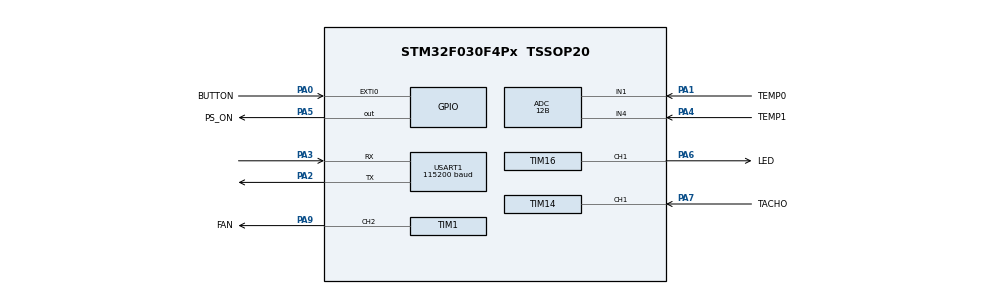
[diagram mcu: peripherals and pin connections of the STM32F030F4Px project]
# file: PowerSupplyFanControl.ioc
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ADC.ClockPrescaler=ADC_CLOCK_ASYNC_DIV1
ADC.ContinuousConvMode=ENABLE
ADC.DMAContinuousRequests=ENABLE
ADC.DataAlign=ADC_DATAALIGN_RIGHT
ADC.DiscontinuousConvMode=DISABLE
ADC.EOCSelection=ADC_EOC_SEQ_CONV
ADC.EnableAnalogWatchDog=false
ADC.ExternalTrigConv=ADC_SOFTWARE_START
ADC.ExternalTrigConvEdge=ADC_EXTERNALTRIGCONVEDGE_NONE
ADC.LowPowerAutoPowerOff=DISABLE
ADC.LowPowerAutoWait=DISABLE
ADC.Overrun=ADC_OVR_DATA_OVERWRITTEN
ADC.Resolution=ADC_RESOLUTION_12B
ADC.SamplingTime=ADC_SAMPLETIME_239CYCLES_5
ADC.ScanConvMode=ADC_SCAN_DIRECTION_FORWARD
Dma.ADC.0.Direction=DMA_PERIPH_TO_MEMORY
Dma.ADC.0.Instance=DMA1_Channel1
Dma.ADC.0.MemDataAlignment=DMA_MDATAALIGN_HALFWORD
Dma.ADC.0.MemInc=DMA_MINC_ENABLE
Dma.ADC.0.Mode=DMA_CIRCULAR
Dma.ADC.0.PeriphDataAlignment=DMA_PDATAALIGN_HALFWORD
Dma.ADC.0.PeriphInc=DMA_PINC_DISABLE
Dma.ADC.0.Priority=DMA_PRIORITY_LOW
Dma.Request0=ADC
Mcu.Family=STM32F0
Mcu.Name=STM32F030F4Px
Mcu.Package=TSSOP20
NVIC.ADC1_IRQn=true\:0\:0\:false\:true\:true\:1
NVIC.DMA1_Channel1_IRQn=true\:0\:0\:false\:false\:true
NVIC.EXTI0_1_IRQn=true\:0\:0\:false\:true\:true\:2
NVIC.TIM17_IRQn=true\:0\:0\:false\:true\:true\:3
PA0.GPIO_Label=BUTTON
PA0.GPIO_ModeDefaultEXTI=GPIO_MODE_IT_RISING
PA0.Signal=GPXTI0
PA1.GPIO_Label=TEMP0
PA1.Mode=IN1
PA1.Signal=ADC_IN1
PA13.Mode=Serial_Wire
PA13.Signal=SYS_SWDIO
PA14.Mode=Serial_Wire
PA14.Signal=SYS_SWCLK
PA2.Mode=Asynchronous
PA2.Signal=USART1_TX
PA3.Mode=Asynchronous
PA3.Signal=USART1_RX
PA4.GPIO_Label=TEMP1
PA4.Mode=IN4
PA4.Signal=ADC_IN4
PA5.GPIO_Label=PS_ON
PA5.GPIO_ModeDefaultOutputPP=GPIO_MODE_OUTPUT_PP
PA5.Signal=GPIO_Output
PA6.GPIO_Label=LED
PA6.Signal=S_TIM16_CH1
PA7.GPIO_Label=TACHO
PA7.Signal=S_TIM14_CH1
PA9.GPIO_Label=FAN
PA9.Signal=S_TIM1_CH2
ProjectManager.HeapSize=0x200
ProjectManager.StackSize=0x400
ProjectManager.TargetToolchain=SW4STM32
SH.S_TIM14_CH1.0=TIM14_CH1,Input_Capture1_from_TI1
SH.S_TIM16_CH1.0=TIM16_CH1,PWM Generation1 CH1
SH.S_TIM1_CH2.0=TIM1_CH2,PWM Generation2 CH2
TIM1.Channel-PWM\ Generation2\ CH2=TIM_CHANNEL_2
TIM1.Period=255
TIM1.Prescaler=1
TIM1.Pulse-PWM\ Generation2\ CH2=128
TIM14.Channel=TIM_CHANNEL_1
TIM16.AutomaticOutput=TIM_AUTOMATICOUTPUT_ENABLE
TIM16.Channel=TIM_CHANNEL_1
TIM16.Period=254
TIM16.Prescaler=40000
TIM16.Pulse=0
TIM17.Channel=TIM_CHANNEL_1
TIM17.OCMode_1=TIM_OCMODE_ACTIVE
TIM17.Period=5
TIM17.Prescaler=2000
TIM17.Pulse=4
USART1.BaudRate=115200
USART1.VirtualMode-Asynchronous=VM_ASYNC
VP_ADC_TempSens_Input.Mode=IN-TempSens
VP_TIM14_VS_ClockSourceINT.Mode=Enable_Timer
VP_TIM16_VS_ClockSourceINT.Mode=Enable_Timer
VP_TIM17_VS_ClockSourceINT.Mode=Enable_Timer
VP_TIM17_VS_OPM.Mode=OPM_bit
VP_TIM17_VS_no_output1.Mode=Output Compare1 No Output
board=PowerSupplyFanControl

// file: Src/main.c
/**
  ******************************************************************************
  * File Name          : main.c
  * Description        : Main program body
  ******************************************************************************
  ** This notice applies to any and all portions of this file
  * that are not between comment pairs USER CODE BEGIN and
  * USER CODE END. Other portions of this file, whether
  * inserted by the user or by software development tools
  * are owned by their respective copyright owners.
  *
  * COPYRIGHT(c) 2017 STMicroelectronics
  *
  * Redistribution and use in source and binary forms, with or without modification,
  * are permitted provided that the following conditions are met:
  *   1. Redistributions of source code must retain the above copyright notice,
  *      this list of conditions and the following disclaimer.
  *   2. Redistributions in binary form must reproduce the above copyright notice,
  *      this list of conditions and the following disclaimer in the documentation
  *      and/or other materials provided with the distribution.
  *   3. Neither the name of STMicroelectronics nor the names of its contributors
  *      may be used to endorse or promote products derived from this software
  *      without specific prior written permission.
  *
  * THIS SOFTWARE IS PROVIDED BY THE COPYRIGHT HOLDERS AND CONTRIBUTORS "AS IS"
  * AND ANY EXPRESS OR IMPLIED WARRANTIES, INCLUDING, BUT NOT LIMITED TO, THE
  * IMPLIED WARRANTIES OF MERCHANTABILITY AND FITNESS FOR A PARTICULAR PURPOSE ARE
  * DISCLAIMED. IN NO EVENT SHALL THE COPYRIGHT HOLDER OR CONTRIBUTORS BE LIABLE
  * FOR ANY DIRECT, INDIRECT, INCIDENTAL, SPECIAL, EXEMPLARY, OR CONSEQUENTIAL
  * DAMAGES (INCLUDING, BUT NOT LIMITED TO, PROCUREMENT OF SUBSTITUTE GOODS OR
  * SERVICES; LOSS OF USE, DATA, OR PROFITS; OR BUSINESS INTERRUPTION) HOWEVER
  * CAUSED AND ON ANY THEORY OF LIABILITY, WHETHER IN CONTRACT, STRICT LIABILITY,
  * OR TORT (INCLUDING NEGLIGENCE OR OTHERWISE) ARISING IN ANY WAY OUT OF THE USE
  * OF THIS SOFTWARE, EVEN IF ADVISED OF THE POSSIBILITY OF SUCH DAMAGE.
  *
  ******************************************************************************
  */
#include "main.h"
#include "stm32f0xx_hal.h"

/* USER CODE BEGIN Includes */

#include "fan.h"
#include <stdbool.h>
#include "templookup.h"

/* USER CODE END Includes */

ADC_HandleTypeDef hadc;
DMA_HandleTypeDef hdma_adc;

TIM_HandleTypeDef htim1;
TIM_HandleTypeDef htim14;
TIM_HandleTypeDef htim16;
TIM_HandleTypeDef htim17;

UART_HandleTypeDef huart1;

/* USER CODE BEGIN PV */
/* Private variables ---------------------------------------------------------*/

volatile uint16_t g_tempValues[3];
volatile bool g_mainPower;

/* USER CODE END PV */

void SystemClock_Config(void);
static void MX_GPIO_Init(void);
static void MX_DMA_Init(void);
static void MX_ADC_Init(void);
static void MX_TIM14_Init(void);
static void MX_TIM16_Init(void);
static void MX_USART1_UART_Init(void);
static void MX_TIM1_Init(void);
static void MX_TIM17_Init(void);
static void MX_NVIC_Init(void);

void HAL_TIM_MspPostInit(TIM_HandleTypeDef *htim);

/* USER CODE BEGIN PFP */
/* Private function prototypes -----------------------------------------------*/

/* USER CODE END PFP */

/* USER CODE BEGIN 0 */

volatile bool tempAvailable = false;
void HAL_ADC_ConvCpltCallback(ADC_HandleTypeDef *hadc) {
	uint16_t temperature = g_tempValues[0];
	if (temperature <= TEMP_CRITICAL || temperature == 0xffff) {
		// emergency stop; 0xffff means sensor failure (open circuit)
		g_mainPower = false;
		HAL_GPIO_WritePin(PS_ON_GPIO_Port, PS_ON_Pin, GPIO_PIN_RESET);
		setFanSpeed(0xff);
	} else if (g_tempValues[1] < g_tempValues[0]) {
		// intake temperature is higher than our internals, don't let the heat in
		setFanSpeed(0x0);
	} else if (temperature < TEMP_OFFSET) {
		setFanSpeed(0xff);
	} else if (temperature > TEMP_MAX) {
		setFanSpeed(0x0);
	} else {
		setFanSpeed(TEMP_LOOKUP[(temperature - TEMP_OFFSET) / TEMP_STEP]);
	}
}

/* USER CODE END 0 */

int main(void)
{

  /* USER CODE BEGIN 1 */

  g_mainPower = false;

  /* USER CODE END 1 */

  /* MCU Configuration----------------------------------------------------------*/

  /* Reset of all peripherals, Initializes the Flash interface and the Systick. */
  HAL_Init();

  /* Configure the system clock */
  SystemClock_Config();

  /* Initialize all configured peripherals */
  MX_GPIO_Init();
  MX_DMA_Init();
  MX_ADC_Init();
  MX_TIM14_Init();
  MX_TIM16_Init();
  MX_USART1_UART_Init();
  MX_TIM1_Init();
  MX_TIM17_Init();

  /* Initialize interrupts */
  MX_NVIC_Init();

  /* USER CODE BEGIN 2 */

  HAL_TIM_Base_Start(&htim1);
  HAL_TIM_PWM_Start(&htim1, TIM_CHANNEL_2);

  HAL_TIM_Base_Start(&htim16);
  HAL_TIM_PWM_Start(&htim16, TIM_CHANNEL_1);

  HAL_TIM_Base_Start(&htim17);

  HAL_GPIO_WritePin(PS_ON_GPIO_Port, PS_ON_Pin, GPIO_PIN_RESET);
  HAL_ADC_Start_DMA(&hadc, (uint32_t*)g_tempValues, sizeof(g_tempValues) / sizeof(*g_tempValues));
  setFanSpeed(0);

  HAL_UART_Transmit(&huart1, (uint8_t*)"Starting up...\n", 15, 0xfff);

  /* USER CODE END 2 */

  /* Infinite loop */
  while (1)
  {

  /* USER CODE BEGIN 3 */
//	  if (tempAvailable) {
//		  tempAvailable = false; // race condition!

//	  	  int adc0 = g_tempValues[0];
//	  	  if(adc0 >= TEMP_OFFSET && adc0 <= TEMP_MAX) {
//	  		  int tsensor0 = TEMP_LOOKUP[(g_tempValues[0] - TEMP_OFFSET)/TEMP_STEP];
//
//			  char txt[128];
//	//		  int bytes = sprintf(txt, "adc[0] = %u, adc[1] = %u, adc[2] = %u\n", g_tempValues[0], g_tempValues[1], g_tempValues[2]);
//			  int bytes = sprintf(txt, "g_tempValues[0] = %u, tsensor0=%d\n", g_tempValues[0], tsensor0);
//			  HAL_UART_Transmit(&huart1, (uint8_t*)txt, bytes, 0xfff);
//	  	  }
//	  }

  }
  /* USER CODE END 3 */

}

/** System Clock Configuration
*/
void SystemClock_Config(void)
{

  RCC_OscInitTypeDef RCC_OscInitStruct;
  RCC_ClkInitTypeDef RCC_ClkInitStruct;
  RCC_PeriphCLKInitTypeDef PeriphClkInit;

    /**Initializes the CPU, AHB and APB busses clocks
    */
  RCC_OscInitStruct.OscillatorType = RCC_OSCILLATORTYPE_HSI|RCC_OSCILLATORTYPE_HSI14;
  RCC_OscInitStruct.HSIState = RCC_HSI_ON;
  RCC_OscInitStruct.HSI14State = RCC_HSI14_ON;
  RCC_OscInitStruct.HSICalibrationValue = 16;
  RCC_OscInitStruct.HSI14CalibrationValue = 16;
  RCC_OscInitStruct.PLL.PLLState = RCC_PLL_NONE;
  if (HAL_RCC_OscConfig(&RCC_OscInitStruct) != HAL_OK)
  {
    _Error_Handler(__FILE__, __LINE__);
  }

    /**Initializes the CPU, AHB and APB busses clocks
    */
  RCC_ClkInitStruct.ClockType = RCC_CLOCKTYPE_HCLK|RCC_CLOCKTYPE_SYSCLK
                              |RCC_CLOCKTYPE_PCLK1;
  RCC_ClkInitStruct.SYSCLKSource = RCC_SYSCLKSOURCE_HSI;
  RCC_ClkInitStruct.AHBCLKDivider = RCC_SYSCLK_DIV1;
  RCC_ClkInitStruct.APB1CLKDivider = RCC_HCLK_DIV1;

  if (HAL_RCC_ClockConfig(&RCC_ClkInitStruct, FLASH_LATENCY_0) != HAL_OK)
  {
    _Error_Handler(__FILE__, __LINE__);
  }

  PeriphClkInit.PeriphClockSelection = RCC_PERIPHCLK_USART1;
  PeriphClkInit.Usart1ClockSelection = RCC_USART1CLKSOURCE_PCLK1;
  if (HAL_RCCEx_PeriphCLKConfig(&PeriphClkInit) != HAL_OK)
  {
    _Error_Handler(__FILE__, __LINE__);
  }

  HAL_RCC_MCOConfig(RCC_MCO, RCC_MCO1SOURCE_SYSCLK, RCC_MCODIV_1);

    /**Configure the Systick interrupt time
    */
  HAL_SYSTICK_Config(HAL_RCC_GetHCLKFreq()/1000);

    /**Configure the Systick
    */
  HAL_SYSTICK_CLKSourceConfig(SYSTICK_CLKSOURCE_HCLK);

  /* SysTick_IRQn interrupt configuration */
  HAL_NVIC_SetPriority(SysTick_IRQn, 0, 0);
}

/** NVIC Configuration
*/
static void MX_NVIC_Init(void)
{
  /* ADC1_IRQn interrupt configuration */
  HAL_NVIC_SetPriority(ADC1_IRQn, 0, 0);
  HAL_NVIC_EnableIRQ(ADC1_IRQn);
  /* EXTI0_1_IRQn interrupt configuration */
  HAL_NVIC_SetPriority(EXTI0_1_IRQn, 0, 0);
  HAL_NVIC_EnableIRQ(EXTI0_1_IRQn);
  /* TIM17_IRQn interrupt configuration */
  HAL_NVIC_SetPriority(TIM17_IRQn, 0, 0);
  HAL_NVIC_EnableIRQ(TIM17_IRQn);
}

/* ADC init function */
static void MX_ADC_Init(void)
{

  ADC_ChannelConfTypeDef sConfig;

    /**Configure the global features of the ADC (Clock, Resolution, Data Alignment and number of conversion)
    */
  hadc.Instance = ADC1;
  hadc.Init.ClockPrescaler = ADC_CLOCK_ASYNC_DIV1;
  hadc.Init.Resolution = ADC_RESOLUTION_12B;
  hadc.Init.DataAlign = ADC_DATAALIGN_RIGHT;
  hadc.Init.ScanConvMode = ADC_SCAN_DIRECTION_FORWARD;
  hadc.Init.EOCSelection = ADC_EOC_SEQ_CONV;
  hadc.Init.LowPowerAutoWait = DISABLE;
  hadc.Init.LowPowerAutoPowerOff = DISABLE;
  hadc.Init.ContinuousConvMode = ENABLE;
  hadc.Init.DiscontinuousConvMode = DISABLE;
  hadc.Init.ExternalTrigConv = ADC_SOFTWARE_START;
  hadc.Init.ExternalTrigConvEdge = ADC_EXTERNALTRIGCONVEDGE_NONE;
  hadc.Init.DMAContinuousRequests = ENABLE;
  hadc.Init.Overrun = ADC_OVR_DATA_OVERWRITTEN;
  if (HAL_ADC_Init(&hadc) != HAL_OK)
  {
    _Error_Handler(__FILE__, __LINE__);
  }

    /**Configure for the selected ADC regular channel to be converted.
    */
  sConfig.Channel = ADC_CHANNEL_1;
  sConfig.Rank = ADC_RANK_CHANNEL_NUMBER;
  sConfig.SamplingTime = ADC_SAMPLETIME_239CYCLES_5;
  if (HAL_ADC_ConfigChannel(&hadc, &sConfig) != HAL_OK)
  {
    _Error_Handler(__FILE__, __LINE__);
  }

    /**Configure for the selected ADC regular channel to be converted.
    */
  sConfig.Channel = ADC_CHANNEL_4;
  if (HAL_ADC_ConfigChannel(&hadc, &sConfig) != HAL_OK)
  {
    _Error_Handler(__FILE__, __LINE__);
  }

    /**Configure for the selected ADC regular channel to be converted.
    */
  sConfig.Channel = ADC_CHANNEL_TEMPSENSOR;
  if (HAL_ADC_ConfigChannel(&hadc, &sConfig) != HAL_OK)
  {
    _Error_Handler(__FILE__, __LINE__);
  }

}

/* TIM1 init function */
static void MX_TIM1_Init(void)
{

  TIM_MasterConfigTypeDef sMasterConfig;
  TIM_OC_InitTypeDef sConfigOC;
  TIM_BreakDeadTimeConfigTypeDef sBreakDeadTimeConfig;

  htim1.Instance = TIM1;
  htim1.Init.Prescaler = 1;
  htim1.Init.CounterMode = TIM_COUNTERMODE_UP;
  htim1.Init.Period = 255;
  htim1.Init.ClockDivision = TIM_CLOCKDIVISION_DIV1;
  htim1.Init.RepetitionCounter = 0;
  htim1.Init.AutoReloadPreload = TIM_AUTORELOAD_PRELOAD_DISABLE;
  if (HAL_TIM_PWM_Init(&htim1) != HAL_OK)
  {
    _Error_Handler(__FILE__, __LINE__);
  }

  sMasterConfig.MasterOutputTrigger = TIM_TRGO_RESET;
  sMasterConfig.MasterSlaveMode = TIM_MASTERSLAVEMODE_DISABLE;
  if (HAL_TIMEx_MasterConfigSynchronization(&htim1, &sMasterConfig) != HAL_OK)
  {
    _Error_Handler(__FILE__, __LINE__);
  }

  sConfigOC.OCMode = TIM_OCMODE_PWM1;
  sConfigOC.Pulse = 128;
  sConfigOC.OCPolarity = TIM_OCPOLARITY_HIGH;
  sConfigOC.OCNPolarity = TIM_OCNPOLARITY_HIGH;
  sConfigOC.OCFastMode = TIM_OCFAST_DISABLE;
  sConfigOC.OCIdleState = TIM_OCIDLESTATE_RESET;
  sConfigOC.OCNIdleState = TIM_OCNIDLESTATE_RESET;
  if (HAL_TIM_PWM_ConfigChannel(&htim1, &sConfigOC, TIM_CHANNEL_2) != HAL_OK)
  {
    _Error_Handler(__FILE__, __LINE__);
  }

  sBreakDeadTimeConfig.OffStateRunMode = TIM_OSSR_DISABLE;
  sBreakDeadTimeConfig.OffStateIDLEMode = TIM_OSSI_DISABLE;
  sBreakDeadTimeConfig.LockLevel = TIM_LOCKLEVEL_OFF;
  sBreakDeadTimeConfig.DeadTime = 0;
  sBreakDeadTimeConfig.BreakState = TIM_BREAK_DISABLE;
  sBreakDeadTimeConfig.BreakPolarity = TIM_BREAKPOLARITY_HIGH;
  sBreakDeadTimeConfig.AutomaticOutput = TIM_AUTOMATICOUTPUT_DISABLE;
  if (HAL_TIMEx_ConfigBreakDeadTime(&htim1, &sBreakDeadTimeConfig) != HAL_OK)
  {
    _Error_Handler(__FILE__, __LINE__);
  }

  HAL_TIM_MspPostInit(&htim1);

}

/* TIM14 init function */
static void MX_TIM14_Init(void)
{

  TIM_IC_InitTypeDef sConfigIC;

  htim14.Instance = TIM14;
  htim14.Init.Prescaler = 0;
  htim14.Init.CounterMode = TIM_COUNTERMODE_UP;
  htim14.Init.Period = 0;
  htim14.Init.ClockDivision = TIM_CLOCKDIVISION_DIV1;
  htim14.Init.AutoReloadPreload = TIM_AUTORELOAD_PRELOAD_DISABLE;
  if (HAL_TIM_Base_Init(&htim14) != HAL_OK)
  {
    _Error_Handler(__FILE__, __LINE__);
  }

  if (HAL_TIM_IC_Init(&htim14) != HAL_OK)
  {
    _Error_Handler(__FILE__, __LINE__);
  }

  sConfigIC.ICPolarity = TIM_INPUTCHANNELPOLARITY_RISING;
  sConfigIC.ICSelection = TIM_ICSELECTION_DIRECTTI;
  sConfigIC.ICPrescaler = TIM_ICPSC_DIV1;
  sConfigIC.ICFilter = 0;
  if (HAL_TIM_IC_ConfigChannel(&htim14, &sConfigIC, TIM_CHANNEL_1) != HAL_OK)
  {
    _Error_Handler(__FILE__, __LINE__);
  }

}

/* TIM16 init function */
static void MX_TIM16_Init(void)
{

  TIM_OC_InitTypeDef sConfigOC;
  TIM_BreakDeadTimeConfigTypeDef sBreakDeadTimeConfig;

  htim16.Instance = TIM16;
  htim16.Init.Prescaler = 40000;
  htim16.Init.CounterMode = TIM_COUNTERMODE_UP;
  htim16.Init.Period = 254;
  htim16.Init.ClockDivision = TIM_CLOCKDIVISION_DIV1;
  htim16.Init.RepetitionCounter = 0;
  htim16.Init.AutoReloadPreload = TIM_AUTORELOAD_PRELOAD_DISABLE;
  if (HAL_TIM_Base_Init(&htim16) != HAL_OK)
  {
    _Error_Handler(__FILE__, __LINE__);
  }

  if (HAL_TIM_PWM_Init(&htim16) != HAL_OK)
  {
    _Error_Handler(__FILE__, __LINE__);
  }

  sConfigOC.OCMode = TIM_OCMODE_PWM1;
  sConfigOC.Pulse = 0;
  sConfigOC.OCPolarity = TIM_OCPOLARITY_HIGH;
  sConfigOC.OCNPolarity = TIM_OCNPOLARITY_HIGH;
  sConfigOC.OCFastMode = TIM_OCFAST_DISABLE;
  sConfigOC.OCIdleState = TIM_OCIDLESTATE_RESET;
  sConfigOC.OCNIdleState = TIM_OCNIDLESTATE_RESET;
  if (HAL_TIM_PWM_ConfigChannel(&htim16, &sConfigOC, TIM_CHANNEL_1) != HAL_OK)
  {
    _Error_Handler(__FILE__, __LINE__);
  }

  sBreakDeadTimeConfig.OffStateRunMode = TIM_OSSR_DISABLE;
  sBreakDeadTimeConfig.OffStateIDLEMode = TIM_OSSI_DISABLE;
  sBreakDeadTimeConfig.LockLevel = TIM_LOCKLEVEL_OFF;
  sBreakDeadTimeConfig.DeadTime = 0;
  sBreakDeadTimeConfig.BreakState = TIM_BREAK_DISABLE;
  sBreakDeadTimeConfig.BreakPolarity = TIM_BREAKPOLARITY_HIGH;
  sBreakDeadTimeConfig.AutomaticOutput = TIM_AUTOMATICOUTPUT_ENABLE;
  if (HAL_TIMEx_ConfigBreakDeadTime(&htim16, &sBreakDeadTimeConfig) != HAL_OK)
  {
    _Error_Handler(__FILE__, __LINE__);
  }

  HAL_TIM_MspPostInit(&htim16);

}

/* TIM17 init function */
static void MX_TIM17_Init(void)
{

  TIM_OC_InitTypeDef sConfigOC;
  TIM_BreakDeadTimeConfigTypeDef sBreakDeadTimeConfig;

  htim17.Instance = TIM17;
  htim17.Init.Prescaler = 2000;
  htim17.Init.CounterMode = TIM_COUNTERMODE_UP;
  htim17.Init.Period = 5;
  htim17.Init.ClockDivision = TIM_CLOCKDIVISION_DIV1;
  htim17.Init.RepetitionCounter = 0;
  htim17.Init.AutoReloadPreload = TIM_AUTORELOAD_PRELOAD_DISABLE;
  if (HAL_TIM_Base_Init(&htim17) != HAL_OK)
  {
    _Error_Handler(__FILE__, __LINE__);
  }

  if (HAL_TIM_OC_Init(&htim17) != HAL_OK)
  {
    _Error_Handler(__FILE__, __LINE__);
  }

  if (HAL_TIM_OnePulse_Init(&htim17, TIM_OPMODE_SINGLE) != HAL_OK)
  {
    _Error_Handler(__FILE__, __LINE__);
  }

  sConfigOC.OCMode = TIM_OCMODE_ACTIVE;
  sConfigOC.Pulse = 4;
  sConfigOC.OCPolarity = TIM_OCPOLARITY_HIGH;
  sConfigOC.OCNPolarity = TIM_OCNPOLARITY_HIGH;
  sConfigOC.OCFastMode = TIM_OCFAST_DISABLE;
  sConfigOC.OCIdleState = TIM_OCIDLESTATE_RESET;
  sConfigOC.OCNIdleState = TIM_OCNIDLESTATE_RESET;
  if (HAL_TIM_OC_ConfigChannel(&htim17, &sConfigOC, TIM_CHANNEL_1) != HAL_OK)
  {
    _Error_Handler(__FILE__, __LINE__);
  }

  sBreakDeadTimeConfig.OffStateRunMode = TIM_OSSR_DISABLE;
  sBreakDeadTimeConfig.OffStateIDLEMode = TIM_OSSI_DISABLE;
  sBreakDeadTimeConfig.LockLevel = TIM_LOCKLEVEL_OFF;
  sBreakDeadTimeConfig.DeadTime = 0;
  sBreakDeadTimeConfig.BreakState = TIM_BREAK_DISABLE;
  sBreakDeadTimeConfig.BreakPolarity = TIM_BREAKPOLARITY_HIGH;
  sBreakDeadTimeConfig.AutomaticOutput = TIM_AUTOMATICOUTPUT_DISABLE;
  if (HAL_TIMEx_ConfigBreakDeadTime(&htim17, &sBreakDeadTimeConfig) != HAL_OK)
  {
    _Error_Handler(__FILE__, __LINE__);
  }

}

/* USART1 init function */
static void MX_USART1_UART_Init(void)
{

  huart1.Instance = USART1;
  huart1.Init.BaudRate = 115200;
  huart1.Init.WordLength = UART_WORDLENGTH_8B;
  huart1.Init.StopBits = UART_STOPBITS_1;
  huart1.Init.Parity = UART_PARITY_NONE;
  huart1.Init.Mode = UART_MODE_TX_RX;
  huart1.Init.HwFlowCtl = UART_HWCONTROL_NONE;
  huart1.Init.OverSampling = UART_OVERSAMPLING_16;
  huart1.Init.OneBitSampling = UART_ONE_BIT_SAMPLE_DISABLE;
  huart1.AdvancedInit.AdvFeatureInit = UART_ADVFEATURE_NO_INIT;
  if (HAL_UART_Init(&huart1) != HAL_OK)
  {
    _Error_Handler(__FILE__, __LINE__);
  }

}

static void MX_DMA_Init(void)
{
  /* DMA controller clock enable */
  __HAL_RCC_DMA1_CLK_ENABLE();

  /* DMA interrupt init */
  /* DMA1_Channel1_IRQn interrupt configuration */
  HAL_NVIC_SetPriority(DMA1_Channel1_IRQn, 0, 0);
  HAL_NVIC_EnableIRQ(DMA1_Channel1_IRQn);

}

/** Configure pins as
        * Analog
        * Input
        * Output
        * EVENT_OUT
        * EXTI
*/
static void MX_GPIO_Init(void)
{

  GPIO_InitTypeDef GPIO_InitStruct;

  /* GPIO Ports Clock Enable */
  __HAL_RCC_GPIOA_CLK_ENABLE();

  /*Configure GPIO pin Output Level */
  HAL_GPIO_WritePin(PS_ON_GPIO_Port, PS_ON_Pin, GPIO_PIN_RESET);

  /*Configure GPIO pin : BUTTON_Pin */
  GPIO_InitStruct.Pin = BUTTON_Pin;
  GPIO_InitStruct.Mode = GPIO_MODE_IT_RISING;
  GPIO_InitStruct.Pull = GPIO_NOPULL;
  HAL_GPIO_Init(BUTTON_GPIO_Port, &GPIO_InitStruct);

  /*Configure GPIO pin : PS_ON_Pin */
  GPIO_InitStruct.Pin = PS_ON_Pin;
  GPIO_InitStruct.Mode = GPIO_MODE_OUTPUT_PP;
  GPIO_InitStruct.Pull = GPIO_NOPULL;
  GPIO_InitStruct.Speed = GPIO_SPEED_FREQ_LOW;
  HAL_GPIO_Init(PS_ON_GPIO_Port, &GPIO_InitStruct);

}

void _Error_Handler(char * file, int line)
{
  while(1)
  {
  }
}

/************************ (C) COPYRIGHT STMicroelectronics *****END OF FILE****/
